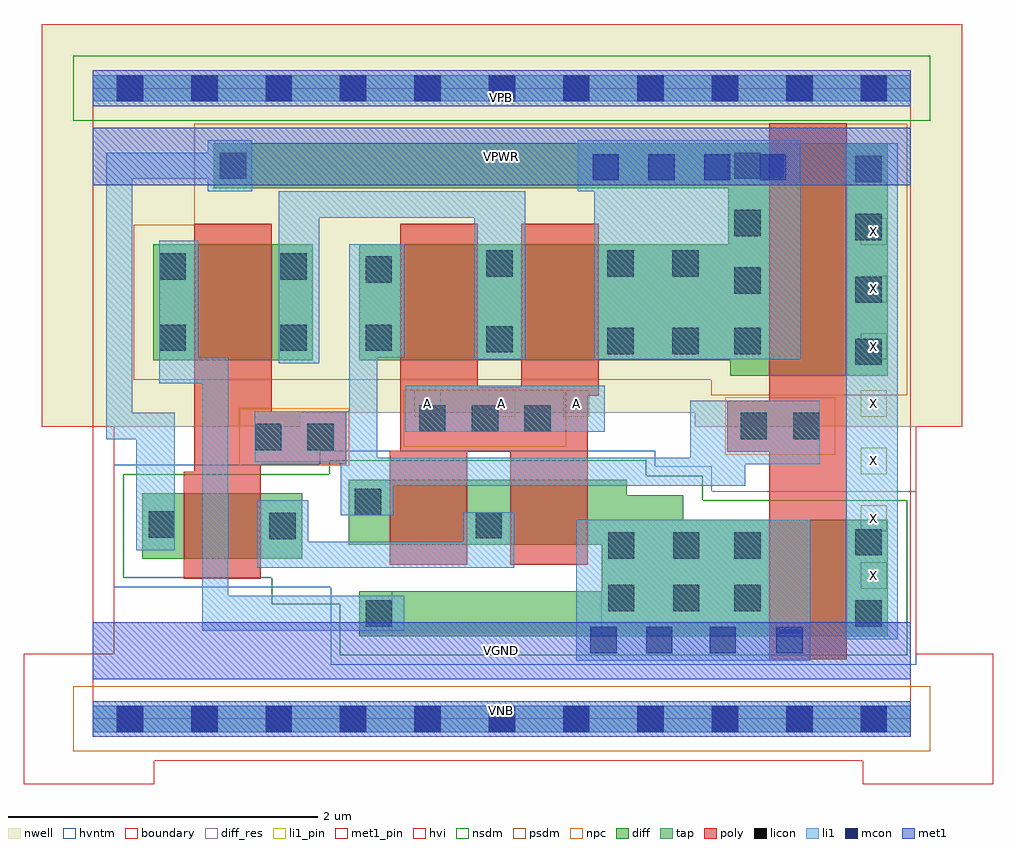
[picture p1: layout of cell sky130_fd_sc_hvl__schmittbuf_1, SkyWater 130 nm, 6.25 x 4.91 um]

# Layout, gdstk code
import gdstk
lib = gdstk.Library(unit=1e-6, precision=1e-09)
def R(c, l, rs):  # rectangles x0, y0, x1, y1
    for r in rs: c.add(gdstk.rectangle(r[:2], r[2:], *l))
def A(c, l, x, y, w, h, nx, ny, dx, dy):  # array of equal rectangles
    R(c, l, [(x+i*dx, y+j*dy, x+i*dx+w, y+j*dy+h) for i in range(nx) for j in range(ny)])
nwell = (64, 20)
diff_res = (65, 13)
diff = (65, 20)
tap = (65, 44)
poly = (66, 20)
licon = (66, 44)
li1_pin = (67, 16)
li1 = (67, 20)
mcon = (67, 44)
met1_pin = (68, 16)
met1 = (68, 20)
hvi = (75, 20)
nsdm = (93, 44)
psdm = (94, 20)
npc = (95, 20)
hvntm = (125, 20)
boundary = (235, 4)

sky130_fd_sc_hvl__schmit = lib.new_cell('sky130_fd_sc_hvl__schmittbuf_1')
R(sky130_fd_sc_hvl__schmit, nwell, [(-0.33,1.885,1.34,1.975), (3.885,1.885,5.61,1.975), (-0.33,1.975,5.61,4.485)])
R(sky130_fd_sc_hvl__schmit, diff_res, [(1.93,0.535,3.285,0.825), (0.99,3.425,4.1,3.715)])
R(sky130_fd_sc_hvl__schmit, diff, [(1.72,0.535,5.13,0.825), (3.285,0.825,5.13,1.125), (0.32,1.035,1.35,1.455), (1.65,1.125,5.13,1.285), (1.65,1.285,3.81,1.445), (1.65,1.445,3.445,1.545), (4.115,2.215,5.13,2.315), (0.39,2.315,1.42,3.065), (1.72,2.315,5.13,3.065), (4.1,3.065,5.13,3.425), (0.78,3.425,5.13,3.715)])
R(sky130_fd_sc_hvl__schmit, tap, [(0,-0.085,5.28,0.085), (0,3.985,5.28,4.155)])
R(sky130_fd_sc_hvl__schmit, poly, [(4.365,0.385,4.865,1.725), (0.585,0.905,1.085,1.595), (1.915,0.995,2.415,1.725), (2.695,0.995,3.195,1.725), (0.655,1.595,1.085,1.645), (0.655,1.645,1.635,1.985), (1.915,1.725,3.195,1.73), (4.095,1.725,4.865,2.055), (1.985,1.73,3.195,2.085), (0.655,1.985,1.155,3.195), (4.365,2.055,4.865,3.845), (1.985,2.085,3.265,2.14), (1.985,2.14,2.485,3.195), (2.765,2.14,3.265,3.195)])
A(sky130_fd_sc_hvl__schmit, licon, 0.155, -0.085, 0.17, 0.17, 11, 2, 0.48, 4.07)
A(sky130_fd_sc_hvl__schmit, licon, 2.105, 1.855, 0.17, 0.17, 3, 1, 0.34, 0)
A(sky130_fd_sc_hvl__schmit, licon, 4.14, 2.745, 0.17, 0.17, 1, 3, 0, 0.37)
R(sky130_fd_sc_hvl__schmit, licon, [(1.76,0.595,1.93,0.765), (4.92,0.595,5.09,0.765), (3.325,0.695,3.495,0.865), (3.745,0.695,3.915,0.865), (4.14,0.695,4.31,0.865), (3.325,1.035,3.495,1.205), (3.745,1.035,3.915,1.205), (4.14,1.035,4.31,1.205), (4.92,1.055,5.09,1.225), (1.14,1.16,1.31,1.33), (2.47,1.165,2.64,1.335), (0.36,1.17,0.53,1.34), (1.69,1.315,1.86,1.485), (1.045,1.735,1.215,1.905), (1.385,1.735,1.555,1.905), (4.18,1.805,4.35,1.975), (4.52,1.805,4.69,1.975), (4.92,2.285,5.09,2.455), (3.32,2.355,3.49,2.525), (3.74,2.355,3.91,2.525), (4.14,2.355,4.31,2.525), (2.54,2.365,2.71,2.535), (0.43,2.375,0.6,2.545), (1.21,2.375,1.38,2.545), (1.76,2.375,1.93,2.545), (4.92,2.685,5.09,2.855), (1.76,2.815,1.93,2.985), (0.43,2.835,0.6,3.005), (1.21,2.835,1.38,3.005), (2.54,2.855,2.71,3.025), (3.32,2.855,3.49,3.025), (3.74,2.855,3.91,3.025), (4.92,3.09,5.09,3.26), (4.92,3.465,5.09,3.635), (0.82,3.485,0.99,3.655)])
A(sky130_fd_sc_hvl__schmit, li1_pin, 4.955, 0.84, 0.17, 0.17, 1, 7, 0, 0.37)
A(sky130_fd_sc_hvl__schmit, li1_pin, 2.075, 1.95, 0.17, 0.17, 3, 1, 0.48, 0)
R(sky130_fd_sc_hvl__schmit, li1, [(0,-0.085,5.28,0.085), (3.12,0.375,4.63,1.285), (4.86,0.515,5.195,3.715), (0.705,0.57,2.01,0.795), (0.705,0.795,0.875,2.165), (1.06,0.975,2.72,1.145), (0.28,1.09,0.53,1.805), (1.06,1.145,1.39,1.41), (2.39,1.145,2.72,1.335), (1.6,1.315,1.94,1.505), (1.6,1.505,4.21,1.645), (1.6,1.645,4.69,1.655), (1.045,1.655,4.69,1.685), (1.045,1.685,1.835,1.985), (3.855,1.685,4.69,2.055), (0.085,1.805,0.53,1.975), (2.015,1.855,3.305,2.15), (0.085,1.975,0.255,3.485), (1.655,1.985,1.835,2.33), (0.43,2.165,0.875,2.335), (1.2,2.295,1.46,3.235), (2.46,2.32,2.79,3.235), (3.235,2.32,4.57,3.405), (1.655,2.33,2.01,3.065), (0.43,2.335,0.68,3.085), (1.2,3.235,2.79,3.405), (0.74,3.405,1.03,3.485), (3.13,3.405,4.57,3.735), (0.085,3.485,1.03,3.655), (0.74,3.655,1.03,3.735), (0,3.985,5.28,4.155)])
A(sky130_fd_sc_hvl__schmit, mcon, 0.155, -0.085, 0.17, 0.17, 11, 2, 0.48, 4.07)
A(sky130_fd_sc_hvl__schmit, mcon, 3.225, 3.475, 0.17, 0.17, 4, 1, 0.36, 0)
R(sky130_fd_sc_hvl__schmit, mcon, [(3.21,0.425,3.38,0.595), (3.57,0.425,3.74,0.595), (3.98,0.425,4.15,0.595), (4.41,0.425,4.58,0.595)])
R(sky130_fd_sc_hvl__schmit, met1_pin, [(0,0,5.28,0.115), (0,0.255,5.28,0.625), (0,3.445,5.28,3.815), (0,3.955,5.28,4.07)])
R(sky130_fd_sc_hvl__schmit, met1, [(0,-0.115,5.28,0.115), (0,0.255,5.28,0.625), (0,3.445,5.28,3.815), (0,3.955,5.28,4.185)])
R(sky130_fd_sc_hvl__schmit, hvi, [(-0.445,-0.42,0.395,-0.27), (4.97,-0.42,5.81,-0.27), (-0.445,-0.27,5.81,0.42), (0.135,0.42,5.315,1.885), (-0.33,1.885,5.61,4.485)])
R(sky130_fd_sc_hvl__schmit, nsdm, [(1.595,0.41,5.255,0.74), (1.155,0.74,5.255,0.91), (0.195,0.91,5.255,1.41), (0.195,1.41,3.935,1.57), (0.195,1.57,3.57,1.58), (1.525,1.58,3.57,1.67), (-0.125,3.86,5.405,4.28)])
R(sky130_fd_sc_hvl__schmit, psdm, [(-0.125,-0.21,5.405,0.21), (3.99,2.09,5.255,2.19), (0.265,2.19,5.255,3.19), (0.655,3.19,5.255,3.84)])
R(sky130_fd_sc_hvl__schmit, npc, [(0.945,1.635,1.655,2.005), (4.08,1.705,4.79,2.075), (2.005,1.755,3.055,2.125)])
R(sky130_fd_sc_hvl__schmit, hvntm, [(1.535,0.35,5.315,0.85), (0.135,0.85,5.315,1.47), (0.135,1.47,3.995,1.63), (0.135,1.63,3.63,1.64), (1.465,1.64,3.63,1.73)])
R(sky130_fd_sc_hvl__schmit, boundary, [(0,0,5.28,4.07)])
sky130_fd_sc_hvl__schmit.add(gdstk.Label('VPB', (2.64,4.01), layer=68, texttype=5))
sky130_fd_sc_hvl__schmit.add(gdstk.Label('VNB', (2.64,0.055), layer=68, texttype=5))
sky130_fd_sc_hvl__schmit.add(gdstk.Label('X', (5.04,0.925), layer=67, texttype=5))
sky130_fd_sc_hvl__schmit.add(gdstk.Label('X', (5.04,1.295), layer=67, texttype=5))
sky130_fd_sc_hvl__schmit.add(gdstk.Label('X', (5.04,1.665), layer=67, texttype=5))
sky130_fd_sc_hvl__schmit.add(gdstk.Label('X', (5.04,2.035), layer=67, texttype=5))
sky130_fd_sc_hvl__schmit.add(gdstk.Label('X', (5.04,2.405), layer=67, texttype=5))
sky130_fd_sc_hvl__schmit.add(gdstk.Label('X', (5.04,2.775), layer=67, texttype=5))
sky130_fd_sc_hvl__schmit.add(gdstk.Label('X', (5.04,3.145), layer=67, texttype=5))
sky130_fd_sc_hvl__schmit.add(gdstk.Label('A', (3.12,2.035), layer=67, texttype=5))
sky130_fd_sc_hvl__schmit.add(gdstk.Label('A', (2.16,2.035), layer=67, texttype=5))
sky130_fd_sc_hvl__schmit.add(gdstk.Label('A', (2.64,2.035), layer=67, texttype=5))
sky130_fd_sc_hvl__schmit.add(gdstk.Label('VPB', (2.64,4.012), layer=68, texttype=5))
sky130_fd_sc_hvl__schmit.add(gdstk.Label('VNB', (2.64,0.057), layer=68, texttype=5))
sky130_fd_sc_hvl__schmit.add(gdstk.Label('VPWR', (2.64,3.63), layer=68, texttype=5))
sky130_fd_sc_hvl__schmit.add(gdstk.Label('VGND', (2.64,0.44), layer=68, texttype=5))

lib.write_gds('sky130_fd_sc_hvl__schmittbuf_1.gds')
